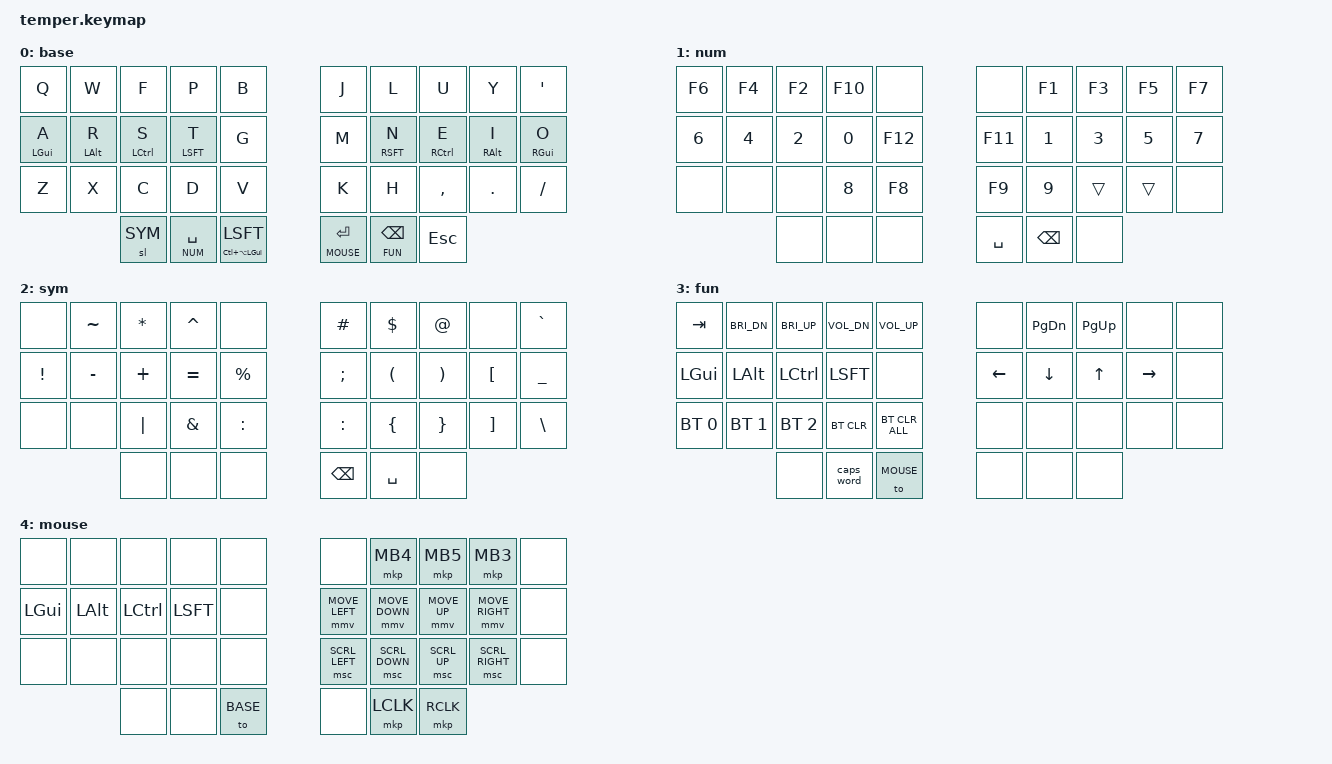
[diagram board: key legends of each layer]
/*
 * Copyright (c) 2020 The ZMK Contributors
 *
 * SPDX-License-Identifier: MIT
 */

#include <behaviors.dtsi>
#include <dt-bindings/zmk/keys.h>
#include <dt-bindings/zmk/bt.h>
#include <dt-bindings/zmk/outputs.h>

#define ZMK_POINTING_DEFAULT_MOVE_VAL 1200  // default: 600
#define ZMK_POINTING_DEFAULT_SCRL_VAL 20    // default: 10
#include <dt-bindings/zmk/pointing.h>

#define LT0  4  // left-top row
#define LT1  3
#define LT2  2
#define LT3  1
#define LT4  0

#define RT0  5  // right-top row
#define RT1  6
#define RT2  7
#define RT3  8
#define RT4  9

#define LM0 14  // left-middle row
#define LM1 13
#define LM2 12
#define LM3 11
#define LM4 10

#define RM0 15  // right-middle row
#define RM1 16
#define RM2 17
#define RM3 18
#define RM4 19

#define LB0 24  // left-bottom row
#define LB1 23
#define LB2 22
#define LB3 21
#define LB4 20

#define RB0 25  // right-bottom row
#define RB1 26
#define RB2 27
#define RB3 28
#define RB4 29

#define LH0 32  // left thumb keys
#define LH1 31
#define LH2 30

#define RH0 33  // right thumb keys
#define RH1 34
#define RH2 35

#define KEYS_L LT0 LT1 LT2 LT3 LT4 LM0 LM1 LM2 LM3 LM4 LB0 LB1 LB2 LB3 LB4  // left hand
#define KEYS_R RT0 RT1 RT2 RT3 RT4 RM0 RM1 RM2 RM3 RM4 RB0 RB1 RB2 RB3 RB4  // right hand
#define KEYS_T LH2 LH1 LH0 RH0 RH1 RH2                                      // thumbs

#define M_LEFT MOVE_LEFT
#define M_RIGHT MOVE_RIGHT
#define M_UP MOVE_UP
#define M_DOWN MOVE_DOWN

#define S_LEFT SCRL_LEFT
#define S_RIGHT SCRL_RIGHT
#define S_UP SCRL_UP
#define S_DOWN SCRL_DOWN

#define BASE  0
#define NUM   1
#define SYM   2
#define FUN   3
#define MOUSE 4

#define KR_FUN &lt FUN &key_repeat

#define KEY_REP &mo FUN &key_repeat
#define CAG LC(LA(LGUI))

#define SF_CTRL &kp_sk LCTRL LSFT

&lt {
    tapping-term-ms = <200>;
    quick-tap-ms = <200>;
};

&mt {
    tapping-term-ms = <200>;
    quick-tap-ms = <200>;
};

&sk {
    release-after-ms = <2000>;
    quick-release;
};

/ {
        behaviors {
            sm_shft: smart_shift {
                compatible = "zmk,behavior-mod-morph";
                #binding-cells = <0>;
                bindings = <&sk LSHFT>, <&caps_word>;
                mods = <(MOD_RSFT)>;
            };

            kp_sk: kp_sk {
                compatible = "zmk,behavior-hold-tap";
                #binding-cells = <2>;
                tapping-term-ms = <200>;
                quick-tap-ms = <200>;
                require-prior-idle-ms = <125>;
                flavor = "tap-preferred";
                bindings = <&kp>, <&sk>;
            };

            mo_sk: mo_sk {
                compatible = "zmk,behavior-hold-tap";
                #binding-cells = <2>;
                tapping-term-ms = <200>;
                quick-tap-ms = <200>;
                require-prior-idle-ms = <125>;
                flavor = "tap-preferred";
                bindings = <&mo>, <&sk>;
            };

            hml: homerow_mods_left {
                compatible = "zmk,behavior-hold-tap";
                #binding-cells = <2>;
                flavor = "balanced";
                tapping-term-ms = <280>;
                require-prior-idle-ms = <150>;
                quick-tap-ms = <200>;
                bindings = <&kp>, <&kp>;
                hold-trigger-key-positions = <KEYS_R KEYS_T>;    // <---[[right-hand keys]]
                hold-trigger-on-release;
            };
            hmr: homerow_mods_right {
                compatible = "zmk,behavior-hold-tap";
                #binding-cells = <2>;
                flavor = "balanced";
                tapping-term-ms = <280>;
                require-prior-idle-ms = <150>;
                quick-tap-ms = <200>;
                bindings = <&kp>, <&kp>;
                hold-trigger-key-positions = <KEYS_L KEYS_T>;    // <---[[right-hand keys]]
                hold-trigger-on-release;
            };
        };
        keymap {
                compatible = "zmk,keymap";
                base {
                        bindings = <
//╭─────────────┬─────────────┬─────────────┬─────────────┬─────────────╮   ╭─────────────┬─────────────┬─────────────┬─────────────┬─────────────╮
       &kp Q         &kp W         &kp F         &kp P         &kp B             &kp J         &kp L         &kp U         &kp Y        &kp SQT
//├─────────────┼─────────────┼─────────────┼─────────────┼─────────────┤   ├─────────────┼─────────────┼─────────────┼─────────────┼─────────────┤
    &hml LGUI A   &hml LALT R   &hml LCTRL S  &hml LSFT T      &kp G             &kp M      &hmr RSFT N   &hmr RCTRL E  &hmr RALT I   &hmr RGUI O
//├─────────────┼─────────────┼─────────────┼─────────────┼─────────────┤   ├─────────────┼─────────────┼─────────────┼─────────────┼─────────────┤
       &kp Z         &kp X         &kp C         &kp D         &kp V             &kp K         &kp H       &kp COMMA      &kp DOT      &kp FSLH
//╰─────────────┼─────────────┼─────────────┼─────────────┼─────────────┤   ├─────────────┼─────────────┼─────────────┼─────────────┴─────────────╯
                                  &sl SYM     &lt NUM SPC &kp_sk CAG LSFT       &lt MOUSE RET  &lt FUN BSPC    &kp ESC
//                            ╰─────────────┴─────────────┴─────────────╯   ╰─────────────┴─────────────┴─────────────╯
                        >;
                };
                num {
                        bindings = <
//╭─────────────┬─────────────┬─────────────┬─────────────┬─────────────╮   ╭─────────────┬─────────────┬─────────────┬─────────────┬─────────────╮
      &kp F6        &kp F4        &kp F2        &kp F10        &none             &none        &kp F1        &kp F3        &kp F5        &kp F7    
//├─────────────┼─────────────┼─────────────┼─────────────┼─────────────┤   ├─────────────┼─────────────┼─────────────┼─────────────┼─────────────┤
      &kp N6        &kp N4        &kp N2        &kp N0        &kp F12           &kp F11       &kp N1        &kp N3        &kp N5        &kp N7     
//├─────────────┼─────────────┼─────────────┼─────────────┼─────────────┤   ├─────────────┼─────────────┼─────────────┼─────────────┼─────────────┤
       &none         &none         &none        &kp N8        &kp F8            &kp F9        &kp N9        &trans        &trans         &none     
//╰─────────────┼─────────────┼─────────────┼─────────────┼─────────────┤   ├─────────────┼─────────────┼─────────────┼─────────────┴─────────────╯
                                   &none         &none         &none            &kp SPC       &kp BSPC       &none
//                            ╰─────────────┴─────────────┴─────────────╯   ╰─────────────┴─────────────┴─────────────╯
                        >;
                };
                sym {
                        bindings = <
//╭─────────────┬─────────────┬─────────────┬─────────────┬─────────────╮   ╭─────────────┬─────────────┬─────────────┬─────────────┬─────────────╮
       &none       &kp TILDE     &kp STAR      &kp CARET       &none           &kp HASH      &kp DLLR       &kp AT        &none        &kp GRAVE
//├─────────────┼─────────────┼─────────────┼─────────────┼─────────────┤   ├─────────────┼─────────────┼─────────────┼─────────────┼─────────────┤
     &kp EXCL      &kp MINUS     &kp PLUS      &kp EQUAL     &kp PRCNT         &kp SEMI      &kp LPAR       &kp RPAR     &kp LBKT      &kp UNDER
//├─────────────┼─────────────┼─────────────┼─────────────┼─────────────┤   ├─────────────┼─────────────┼─────────────┼─────────────┼─────────────┤
       &none         &none       &kp PIPE      &kp AMPS      &kp COLON         &kp COLON     &kp LBRC       &kp RBRC     &kp RBKT      &kp BSLH
//╰─────────────┼─────────────┼─────────────┼─────────────┼─────────────┤   ├─────────────┼─────────────┼─────────────┼─────────────┴─────────────╯
                                   &none         &none         &none           &kp BSPC       &kp SPC        &none
//                            ╰─────────────┴─────────────┴─────────────╯   ╰─────────────┴─────────────┴─────────────╯
                        >;
                };
                fun {
                        bindings = <
//╭─────────────┬─────────────┬─────────────┬─────────────┬─────────────╮   ╭─────────────┬─────────────┬─────────────┬─────────────┬─────────────╮
      &kp TAB    &kp C_BRI_DN  &kp C_BRI_UP  &kp C_VOL_DN  &kp C_VOL_UP          &none       &kp PG_DN     &kp PG_UP       &none         &none
//├─────────────┼─────────────┼─────────────┼─────────────┼─────────────┤   ├─────────────┼─────────────┼─────────────┼─────────────┼─────────────┤
      &kp LGUI      &kp LALT      &kp LCTRL     &kp LSFT       &none            &kp LEFT      &kp DOWN       &kp UP      &kp RIGHT       &none     
//├─────────────┼─────────────┼─────────────┼─────────────┼─────────────┤   ├─────────────┼─────────────┼─────────────┼─────────────┼─────────────┤
   &bt BT_SEL 0  &bt BT_SEL 1  &bt BT_SEL 2   &bt BT_CLR  &bt BT_CLR_ALL         &none         &none         &none         &none         &none
//╰─────────────┼─────────────┼─────────────┼─────────────┼─────────────┤   ├─────────────┼─────────────┼─────────────┼─────────────┴─────────────╯
                                   &none      &caps_word     &to MOUSE            &none         &none         &none
//                            ╰─────────────┴─────────────┴─────────────╯   ╰─────────────┴─────────────┴─────────────╯
                        >;
                };
                mouse {
                        bindings = <
//╭─────────────┬─────────────┬─────────────┬─────────────┬─────────────╮   ╭─────────────┬─────────────┬─────────────┬─────────────┬─────────────╮
       &none         &none         &none         &none         &none             &none        &mkp MB4     &mkp MB5       &mkp MB3       &none    
//├─────────────┼─────────────┼─────────────┼─────────────┼─────────────┤   ├─────────────┼─────────────┼─────────────┼─────────────┼─────────────┤
      &kp LGUI      &kp LALT      &kp LCTRL     &kp LSFT       &none          &mmv M_LEFT   &mmv M_DOWN    &mmv M_UP    &mmv M_RIGHT     &none      
//├─────────────┼─────────────┼─────────────┼─────────────┼─────────────┤   ├─────────────┼─────────────┼─────────────┼─────────────┼─────────────┤
       &none         &none         &none         &none         &none          &msc S_LEFT   &msc S_DOWN    &msc S_UP   &msc S_RIGHT      &none     
//╰─────────────┼─────────────┼─────────────┼─────────────┼─────────────┤   ├─────────────┼─────────────┼─────────────┼─────────────┴─────────────╯
                                   &none         &none       &to BASE             &none      &mkp LCLK      &mkp RCLK      
//                            ╰─────────────┴─────────────┴─────────────╯   ╰─────────────┴─────────────┴─────────────╯
                        >;
                };
        };
};
